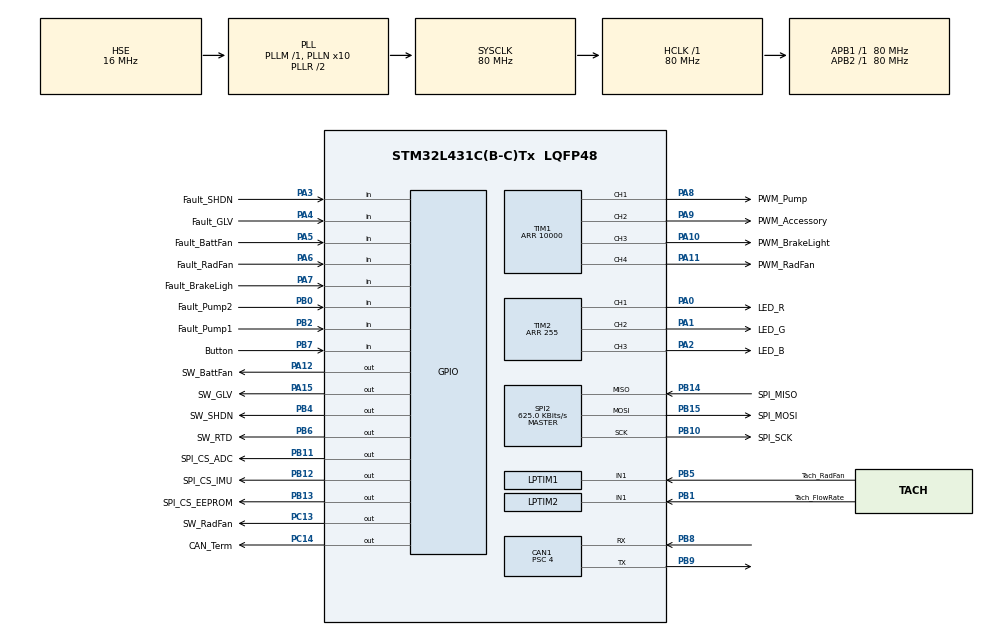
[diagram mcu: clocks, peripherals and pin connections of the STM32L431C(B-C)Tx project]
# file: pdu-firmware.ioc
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CAN1.BS1=CAN_BS1_16TQ
CAN1.BS2=CAN_BS2_3TQ
CAN1.CalculateBaudRate=1000000
CAN1.CalculateTimeBit=1000
CAN1.CalculateTimeQuantum=50.0
CAN1.Prescaler=4
Mcu.Family=STM32L4
Mcu.Name=STM32L431C(B-C)Tx
Mcu.Package=LQFP48
NVIC.PriorityGroup=NVIC_PRIORITYGROUP_4
PA0.GPIO_Label=LED_R
PA0.GPIO_ModeDefaultPP=GPIO_MODE_AF_OD
PA0.GPIO_Speed=GPIO_SPEED_FREQ_VERY_HIGH
PA0.Signal=S_TIM2_CH1
PA1.GPIO_Label=LED_G
PA1.GPIO_ModeDefaultPP=GPIO_MODE_AF_OD
PA1.GPIO_Speed=GPIO_SPEED_FREQ_VERY_HIGH
PA1.Signal=S_TIM2_CH2
PA10.GPIO_Label=PWM_BrakeLight
PA10.GPIO_Speed=GPIO_SPEED_FREQ_VERY_HIGH
PA10.Signal=S_TIM1_CH3
PA11.GPIO_Label=PWM_RadFan
PA11.GPIO_ModeDefaultPP=GPIO_MODE_AF_PP
PA11.GPIO_PuPd=GPIO_NOPULL
PA11.GPIO_Speed=GPIO_SPEED_FREQ_VERY_HIGH
PA11.Signal=S_TIM1_CH4
PA12.GPIO_Label=SW_BattFan
PA12.Signal=GPIO_Output
PA13\ (JTMS-SWDIO).Mode=Trace_Asynchronous_SW
PA13\ (JTMS-SWDIO).Signal=SYS_JTMS-SWDIO
PA14\ (JTCK-SWCLK).Mode=Trace_Asynchronous_SW
PA14\ (JTCK-SWCLK).Signal=SYS_JTCK-SWCLK
PA15\ (JTDI).GPIO_Label=SW_GLV
PA15\ (JTDI).Signal=GPIO_Output
PA2.GPIO_Label=LED_B
PA2.GPIO_ModeDefaultPP=GPIO_MODE_AF_OD
PA2.GPIO_Speed=GPIO_SPEED_FREQ_VERY_HIGH
PA2.Signal=S_TIM2_CH3
PA3.GPIO_Label=Fault_SHDN
PA3.Signal=GPIO_Input
PA4.GPIO_Label=Fault_GLV
PA4.Signal=GPIO_Input
PA5.GPIO_Label=Fault_BattFan
PA5.Signal=GPIO_Input
PA6.GPIO_Label=Fault_RadFan
PA6.Signal=GPIO_Input
PA7.GPIO_Label=Fault_BrakeLigh
PA7.Signal=GPIO_Input
PA8.GPIO_Label=PWM_Pump
PA8.GPIO_Speed=GPIO_SPEED_FREQ_VERY_HIGH
PA8.Signal=S_TIM1_CH1
PA9.GPIO_Label=PWM_Accessory
PA9.GPIO_Speed=GPIO_SPEED_FREQ_VERY_HIGH
PA9.Signal=S_TIM1_CH2
PB0.GPIO_Label=Fault_Pump2
PB0.Signal=GPIO_Input
PB1.GPIO_Label=Tach_FlowRate
PB1.GPIO_PuPd=GPIO_PULLUP
PB1.Mode=Counts_external_clock_standalone_1X_occur1
PB1.Signal=LPTIM2_IN1
PB10.GPIO_Label=SPI_SCK
PB10.Mode=Full_Duplex_Master
PB10.Signal=SPI2_SCK
PB11.GPIO_Label=SPI_CS_ADC
PB11.GPIO_Speed=GPIO_SPEED_FREQ_VERY_HIGH
PB11.PinState=GPIO_PIN_SET
PB11.Signal=GPIO_Output
PB12.GPIO_Label=SPI_CS_IMU
PB12.GPIO_Speed=GPIO_SPEED_FREQ_VERY_HIGH
PB12.PinState=GPIO_PIN_SET
PB12.Signal=GPIO_Output
PB13.GPIO_Label=SPI_CS_EEPROM
PB13.GPIO_Speed=GPIO_SPEED_FREQ_VERY_HIGH
PB13.PinState=GPIO_PIN_SET
PB13.Signal=GPIO_Output
PB14.GPIO_Label=SPI_MISO
PB14.GPIO_PuPd=GPIO_PULLUP
PB14.Mode=Full_Duplex_Master
PB14.Signal=SPI2_MISO
PB15.GPIO_Label=SPI_MOSI
PB15.Mode=Full_Duplex_Master
PB15.Signal=SPI2_MOSI
PB2.GPIO_Label=Fault_Pump1
PB2.Signal=GPIO_Input
PB3\ (JTDO-TRACESWO).Mode=Trace_Asynchronous_SW
PB3\ (JTDO-TRACESWO).Signal=SYS_JTDO-SWO
PB4\ (NJTRST).GPIO_Label=SW_SHDN
PB4\ (NJTRST).Signal=GPIO_Output
PB5.GPIO_Label=Tach_RadFan
PB5.GPIO_PuPd=GPIO_PULLUP
PB5.Mode=Counts_external_clock_standalone_1X_occur1
PB5.Signal=LPTIM1_IN1
PB6.GPIO_Label=SW_RTD
PB6.Signal=GPIO_Output
PB7.GPIO_Label=Button
PB7.Signal=GPIO_Input
PB8.GPIO_Mode=GPIO_MODE_AF_PP
PB8.GPIO_PuPd=GPIO_PULLUP
PB8.Mode=CAN_Activate
PB8.Signal=CAN1_RX
PB9.Mode=CAN_Activate
PB9.Signal=CAN1_TX
PC13.GPIO_Label=SW_RadFan
PC13.Signal=GPIO_Output
PC14-OSC32_IN\ (PC14).GPIO_Label=CAN_Term
PC14-OSC32_IN\ (PC14).PinState=GPIO_PIN_SET
PC14-OSC32_IN\ (PC14).Signal=GPIO_Output
PH0-OSC_IN\ (PH0).Mode=HSE-External-Oscillator
PH0-OSC_IN\ (PH0).Signal=RCC_OSC_IN
PH1-OSC_OUT\ (PH1).Mode=HSE-External-Oscillator
PH1-OSC_OUT\ (PH1).Signal=RCC_OSC_OUT
ProjectManager.HeapSize=0x200
ProjectManager.StackSize=0x400
ProjectManager.TargetToolchain=STM32CubeIDE
RCC.ADCFreq_Value=64000000
RCC.AHBFreq_Value=80000000
RCC.APB1Freq_Value=80000000
RCC.APB1TimFreq_Value=80000000
RCC.APB2Freq_Value=80000000
RCC.APB2TimFreq_Value=80000000
RCC.CortexFreq_Value=80000000
RCC.HCLKFreq_Value=80000000
RCC.HSE_VALUE=16000000
RCC.HSI48_VALUE=48000000
RCC.HSI_VALUE=16000000
RCC.LSE_VALUE=32768
RCC.MSI_VALUE=4000000
RCC.PLLN=10
RCC.PLLSourceVirtual=RCC_PLLSOURCE_HSE
RCC.SYSCLKFreq_VALUE=80000000
RCC.SYSCLKSource=RCC_SYSCLKSOURCE_PLLCLK
RCC.VCOOutputFreq_Value=160000000
SH.S_TIM1_CH1.0=TIM1_CH1,PWM Generation1 CH1
SH.S_TIM1_CH2.0=TIM1_CH2,PWM Generation2 CH2
SH.S_TIM1_CH3.0=TIM1_CH3,PWM Generation3 CH3
SH.S_TIM1_CH4.0=TIM1_CH4,PWM Generation4 CH4
SH.S_TIM2_CH1.0=TIM2_CH1,PWM Generation1 CH1
SH.S_TIM2_CH2.0=TIM2_CH2,PWM Generation2 CH2
SH.S_TIM2_CH3.0=TIM2_CH3,PWM Generation3 CH3
SPI2.BaudRatePrescaler=SPI_BAUDRATEPRESCALER_128
SPI2.CLKPhase=SPI_PHASE_2EDGE
SPI2.CLKPolarity=SPI_POLARITY_HIGH
SPI2.CalculateBaudRate=625.0 KBits/s
SPI2.DataSize=SPI_DATASIZE_8BIT
SPI2.Direction=SPI_DIRECTION_2LINES
SPI2.Mode=SPI_MODE_MASTER
SPI2.VirtualType=VM_MASTER
TIM1.AutoReloadPreload=TIM_AUTORELOAD_PRELOAD_ENABLE
TIM1.Channel-PWM\ Generation1\ CH1=TIM_CHANNEL_1
TIM1.Channel-PWM\ Generation2\ CH2=TIM_CHANNEL_2
TIM1.Channel-PWM\ Generation3\ CH3=TIM_CHANNEL_3
TIM1.Channel-PWM\ Generation4\ CH4=TIM_CHANNEL_4
TIM1.Period=10000
TIM2.AutoReloadPreload=TIM_AUTORELOAD_PRELOAD_ENABLE
TIM2.Channel-PWM\ Generation1\ CH1=TIM_CHANNEL_1
TIM2.Channel-PWM\ Generation2\ CH2=TIM_CHANNEL_2
TIM2.Channel-PWM\ Generation3\ CH3=TIM_CHANNEL_3
TIM2.OCPolarity_1=TIM_OCPOLARITY_LOW
TIM2.OCPolarity_2=TIM_OCPOLARITY_LOW
TIM2.OCPolarity_3=TIM_OCPOLARITY_LOW
TIM2.Period=255
VP_TIM1_VS_ClockSourceINT.Mode=Internal
VP_TIM2_VS_ClockSourceINT.Mode=Internal
board=custom

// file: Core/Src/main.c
/* USER CODE BEGIN Header */
/**
  ******************************************************************************
  * @file           : main.c
  * @brief          : Main program body
  ******************************************************************************
  * @attention
  *
  * Copyright (c) 2023 STMicroelectronics.
  * All rights reserved.
  *
  * This software is licensed under terms that can be found in the LICENSE file
  * in the root directory of this software component.
  * If no LICENSE file comes with this software, it is provided AS-IS.
  *
  ******************************************************************************
  */
/* USER CODE END Header */
#include "main.h"
#include "can.h"
#include "lptim.h"
#include "spi.h"
#include "tim.h"
#include "gpio.h"

/* USER CODE BEGIN Includes */
#include "clock.h"
#include "led.h"
#include "switches.h"
#include "pwm.h"
#include "angel_can.h"
#include "vcu.h"
#include "imu.h"

#include <cmath>
/* USER CODE END Includes */

void SystemClock_Config(void);

/* USER CODE BEGIN 0 */
AdcVoltages adcVoltages;
TachData tachData;
xyz accel;
VCUStatus stat;
/* USER CODE END 0 */

int main(void)
{

  /* MCU Configuration--------------------------------------------------------*/

  /* Reset of all peripherals, Initializes the Flash interface and the Systick. */
  HAL_Init();

  /* Configure the system clock */
  SystemClock_Config();

  /* Initialize all configured peripherals */
  MX_GPIO_Init();
  MX_TIM2_Init();
  MX_TIM1_Init();
  MX_CAN1_Init();
  MX_LPTIM1_Init();
  MX_SPI2_Init();
  MX_LPTIM2_Init();
  /* USER CODE BEGIN 2 */

  clock_init();
  led_init();
  switches_init();
//  spiAdc_init();
  imu_init(&hspi2);
  can_init(&hcan1);
  vcu_init();
  pwm_init();

  switches_setBrakeLight(0.0f);
  switches_setGLV(true);
  switches_setRadiatorFans(false);

  switches_setAccessory(0.0f);
  switches_setPump(0.0f);
  switches_setBuzzer(false);
  switches_setBatteryFans(false);
  switches_setShutdown(false);

  pwm_regulateRadiatorFans(0.0f);

//  HAL_GPIO_WritePin(CAN_Term_GPIO_Port, CAN_Term_Pin, GPIO_PIN_RESET);

  // do last as it takes time
  led_set(0.2f, 0.2f, 0);
  tach_init();

  /* USER CODE END 2 */

  /* Infinite loop */
  /* USER CODE BEGIN WHILE */
//  bool hardBraking = false; // TODO remove this shit
//  float brakeTimer = 0;
//  float accumulator = 0;
  while (1)
  {
    /* USER CODE END WHILE */

    /* USER CODE BEGIN 3 */
    float deltaTime = clock_getDeltaTime();
    led_rainbow(deltaTime);

    if(imu_isAccelReady())
      imu_getAccel(&accel);

    volatile float x = accel.z;

//    float tau = 0.1f;
//    float alpha = deltaTime / (deltaTime + tau);
//    accumulator = (1.0f - alpha) * accumulator + alpha * accel.x;
//    hardBraking = accel.x > 8.0f || accel.x < -8.0f;
//    bool braking = accel.x > 5.0f || accel.x < -5.0f;
//    float pct = 0.5f;
//
//    if(hardBraking) {
//        bool pattern = (brakeTimer > 0.5f) || (static_cast<uint32_t>(brakeTimer / 0.05f) % 2 == 0);
//        switches_setBrakeLight(pattern * pct);
//        brakeTimer += deltaTime;
//    } else if(braking) {
//        switches_setBrakeLight(pct);
//    } else {
//        switches_setBrakeLight(0.0005f);
//        brakeTimer = 0;
//    }

//    spiAdc_getVoltages(adcVoltages); // TODO ADC doesn't work

    // TODO remove this temp shit
    if(clock_getTime() < 1.0f) {
      bool on = ((int)(clock_getTime() * 6.0f)) % 2 == 0;
      stat.brakeLightPercent = (on * 0.4f);
    } else {
      float sineWave = 0.5f * (sin(6.28f / 2.0f * (clock_getTime() - 1.0f)) + 1.0f);
      float pct = sineWave * 0.90f + 0.10f;
      stat.brakeLightPercent = (pct * pct * 0.4f);
    }

    tach_periodic(deltaTime, tachData);
    vcu_periodic(adcVoltages, stat, tachData);
    can_periodic(deltaTime);

    switches_setBrakeLight(stat.brakeLightPercent);
    switches_setBuzzer(stat.buzzerType);
    pwm_regulateRadiatorFans(stat.pduCooling.radiatorFanPercent);
    switches_setPump(stat.pduCooling.pumpPercent);
  }
  /* USER CODE END 3 */
}

void SystemClock_Config(void)
{
  RCC_OscInitTypeDef RCC_OscInitStruct = {0};
  RCC_ClkInitTypeDef RCC_ClkInitStruct = {0};

  /** Configure the main internal regulator output voltage
  */
  if (HAL_PWREx_ControlVoltageScaling(PWR_REGULATOR_VOLTAGE_SCALE1) != HAL_OK)
  {
    Error_Handler();
  }

  /** Initializes the RCC Oscillators according to the specified parameters
  * in the RCC_OscInitTypeDef structure.
  */
  RCC_OscInitStruct.OscillatorType = RCC_OSCILLATORTYPE_HSE;
  RCC_OscInitStruct.HSEState = RCC_HSE_ON;
  RCC_OscInitStruct.PLL.PLLState = RCC_PLL_ON;
  RCC_OscInitStruct.PLL.PLLSource = RCC_PLLSOURCE_HSE;
  RCC_OscInitStruct.PLL.PLLM = 1;
  RCC_OscInitStruct.PLL.PLLN = 10;
  RCC_OscInitStruct.PLL.PLLP = RCC_PLLP_DIV7;
  RCC_OscInitStruct.PLL.PLLQ = RCC_PLLQ_DIV2;
  RCC_OscInitStruct.PLL.PLLR = RCC_PLLR_DIV2;
  if (HAL_RCC_OscConfig(&RCC_OscInitStruct) != HAL_OK)
  {
    Error_Handler();
  }

  /** Initializes the CPU, AHB and APB buses clocks
  */
  RCC_ClkInitStruct.ClockType = RCC_CLOCKTYPE_HCLK|RCC_CLOCKTYPE_SYSCLK
                              |RCC_CLOCKTYPE_PCLK1|RCC_CLOCKTYPE_PCLK2;
  RCC_ClkInitStruct.SYSCLKSource = RCC_SYSCLKSOURCE_PLLCLK;
  RCC_ClkInitStruct.AHBCLKDivider = RCC_SYSCLK_DIV1;
  RCC_ClkInitStruct.APB1CLKDivider = RCC_HCLK_DIV1;
  RCC_ClkInitStruct.APB2CLKDivider = RCC_HCLK_DIV1;

  if (HAL_RCC_ClockConfig(&RCC_ClkInitStruct, FLASH_LATENCY_4) != HAL_OK)
  {
    Error_Handler();
  }
}

void Error_Handler(void)
{
  __disable_irq();
  while (1)
  {
  }
}
